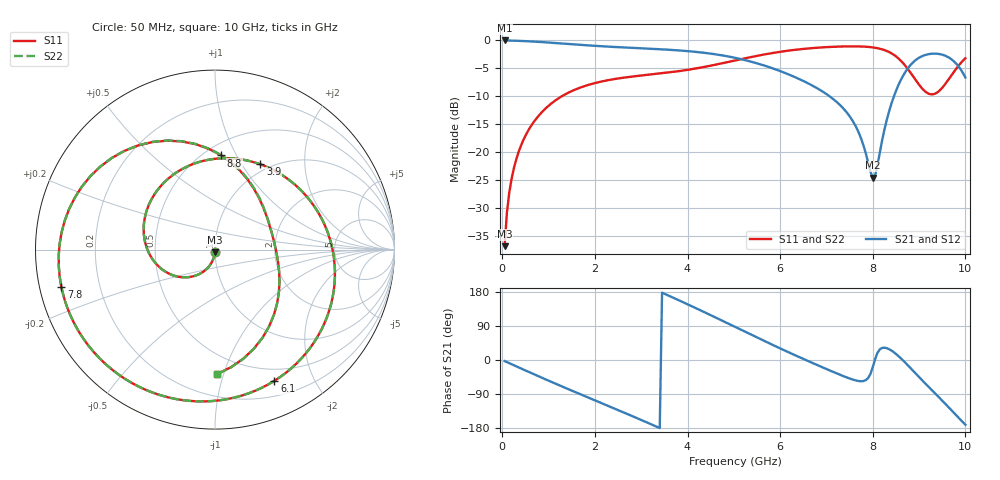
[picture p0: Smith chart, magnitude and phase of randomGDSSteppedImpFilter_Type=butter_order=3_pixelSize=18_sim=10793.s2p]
! freq	dB(S11)	phase(S11)	dB(S12)	phase(S12)
!  dB(S21)	phase(S21)	dB(S22)	phase(S22)
!S-par simulation data
#  GHz  S  DB  R 50
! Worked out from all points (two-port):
!   200 points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, 50 MHz to 10 GHz, reference 50 ohm
!   highest |S21| = 0.00 dB at 50 MHz (marker M1); lowest = -24.5 dB at 8 GHz (marker M2)
!   |S21| within 3 dB of the highest: start of sweep to 4.965 GHz; 9.02 GHz to 9.631 GHz (610.4 MHz wide, 6.55 % of centre)
!   lowest |S11| = -36.8 dB at 50 MHz (marker M3), VSWR 1.03, Z = 49.9 - j1.45 ohm
!   |S11| at or under -10 dB: start of sweep to 1.281 GHz
!   |S22| runs from -36.8 to -1.1 dB; largest |S21 - S12| = 0
!   S11 on the Smith chart (normalised r, x): 50 MHz: 1.00, -0.03; 3.9 GHz: 0.90, +1.21; 6.1 GHz: 0.36, -1.49; 7.8 GHz: 0.06, -0.12; 8.8 GHz: 0.60, +0.87; 10 GHz: 0.36, -0.95
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0.05  -36.77 -92.6  -0.00 -2.8  -0.00 -2.8  -36.77 -92.6
0.2  -24.76 -101.3  -0.03 -11.1  -0.03 -11.1  -24.76 -101.3
0.5  -17.02 -118.2  -0.13 -27.6  -0.13 -27.6  -17.02 -118.2
1.15  -10.70 -153.1  -0.46 -62.5  -0.46 -62.5  -10.70 -153.1
1.75  -8.23 175.6  -0.83 -93.7  -0.83 -93.7  -8.23 175.7
2.65  -6.62 129.4  -1.27 -139.9  -1.27 -139.9  -6.62 129.5
3.4  -5.91 89.6  -1.57 -179.6  -1.57 -179.6  -5.91 89.9
3.9  -5.39 62.1  -1.84 152.7  -1.84 152.7  -5.39 62.3
4.5  -4.51 27.7  -2.36 118.3  -2.36 118.3  -4.51 28.0
5.05  -3.54 -4.6  -3.15 85.9  -3.15 85.9  -3.54 -4.3
6.1  -1.91 -65.6  -5.80 25.0  -5.80 25.0  -1.91 -65.5
6.7  -1.37 -99.3  -8.09 -8.0  -8.09 -8.0  -1.37 -99.2
7.25  -1.10 -130.6  -11.21 -36.8  -11.21 -36.8  -1.10 -130.6
7.8  -1.10 -166.3  -18.78 -55.5  -18.78 -55.5  -1.10 -166.4
8  -1.25 178.0  -24.53 -19.0  -24.53 -19.0  -1.25 177.8
8.35  -2.06 144.1  -12.74 28.7  -12.74 28.7  -2.07 143.8
8.6  -3.58 113.7  -7.16 5.3  -7.16 5.3  -3.59 113.2
8.8  -5.58 86.2  -4.53 -19.4  -4.53 -19.4  -5.59 85.6
9.05  -8.43 49.9  -2.87 -51.4  -2.87 -51.4  -8.44 49.0
9.4  -9.26 -3.8  -2.39 -94.8  -2.39 -94.8  -9.24 -4.5
9.75  -5.64 -54.7  -3.72 -139.2  -3.72 -139.2  -5.62 -54.8
10  -3.18 -89.1  -6.63 -170.8  -6.63 -170.8  -3.18 -88.9
